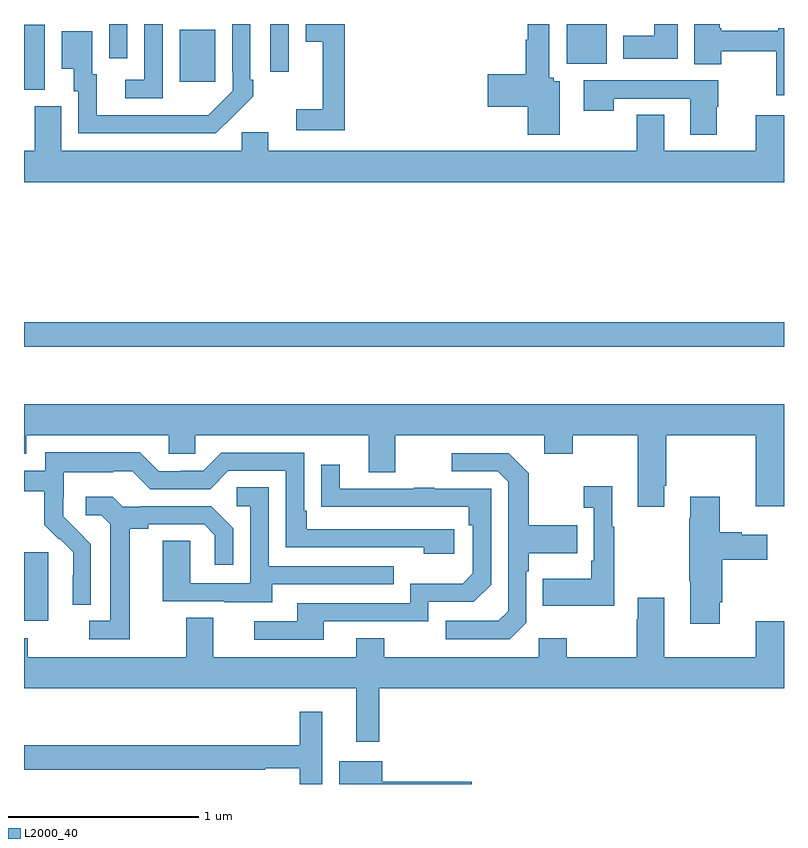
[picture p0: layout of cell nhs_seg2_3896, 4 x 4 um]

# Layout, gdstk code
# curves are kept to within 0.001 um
import gdstk
lib = gdstk.Library(unit=1e-6, precision=1e-09)
def R(c, l, rs):  # rectangles x0, y0, x1, y1
    for r in rs: c.add(gdstk.rectangle(r[:2], r[2:], *l))
def P(c, l, *ps):  # polygons
    for p in ps: c.add(gdstk.Polygon(p, *l))
L2000_40 = (2000, 40)

nhs_seg2_3896 = lib.new_cell('nhs_seg2_3896')
R(nhs_seg2_3896, L2000_40, [(317,646.658,317.128,647.019), (317,648.102,321,648.23), (317,649.453,317.11,649.796), (317.819,649.497,318.007,649.771), (318.297,649.548,318.393,649.8), (319.856,649.592,320.068,649.8), (317.448,649.62,317.544,649.8)])
P(nhs_seg2_3896, L2000_40, [(318.689,649.8),(318.482,649.8),(318.482,649.706),(318.572,649.706),(318.572,649.351),(318.432,649.351),(318.432,649.242),(318.689,649.242)],
  [(317.73,649.8),(317.634,649.8),(317.634,649.506),(317.532,649.506),(317.532,649.41),(317.73,649.41)],
  [(319.819,649.5),(319.788,649.5),(319.788,649.518),(319.765,649.518),(319.765,649.8),(319.652,649.8),(319.652,649.718),(319.64,649.718),(319.64,649.535),(319.44,649.535),(319.44,649.364),(319.652,649.364),(319.652,649.218),(319.819,649.218)],
  [(318.101,649.315),(318.102,649.314),(318.207,649.419),(318.207,649.507),(318.192,649.507),(318.192,649.8),(318.096,649.8),(318.096,649.549),(318.099,649.549),(318.099,649.449),(317.971,649.321),(317.383,649.32),(317.383,649.536),(317.359,649.536),(317.359,649.762),(317.198,649.762),(317.198,649.565),(317.261,649.565),(317.261,649.446),(317.286,649.446),(317.286,649.224),(318.01,649.224)],
  [(321,649.777),(320.97,649.777),(320.97,649.765),(320.67,649.765),(320.67,649.777),(320.662,649.777),(320.662,649.8),(320.528,649.8),(320.528,649.588),(320.67,649.588),(320.67,649.656),(320.959,649.656),(320.959,649.425),(321,649.425)],
  [(320.44,649.8),(320.318,649.8),(320.318,649.738),(320.153,649.738),(320.153,649.616),(320.44,649.616)],
  [(320.647,649.365),(320.655,649.365),(320.655,649.503),(319.947,649.503),(319.947,649.344),(320.103,649.344),(320.103,649.407),(320.507,649.407),(320.507,649.218),(320.647,649.218)],
  [(321,649.321),(320.852,649.321),(320.852,649.132),(320.371,649.132),(320.371,649.322),(320.224,649.322),(320.224,649.132),(318.286,649.132),(318.286,649.23),(318.147,649.23),(318.147,649.132),(317.197,649.132),(317.197,649.368),(317.057,649.368),(317.057,649.132),(317,649.132),(317,648.968),(321,648.968)],
  [(317,647.537),(317.011,647.537),(317.011,647.636),(317.763,647.636),(317.763,647.538),(317.901,647.538),(317.901,647.636),(318.815,647.636),(318.815,647.442),(318.955,647.442),(318.955,647.636),(319.739,647.636),(319.739,647.537),(319.887,647.537),(319.887,647.636),(320.231,647.636),(320.231,647.259),(320.371,647.259),(320.371,647.371),(320.379,647.371),(320.379,647.636),(320.852,647.636),(320.852,647.262),(321,647.262),(321,647.8),(317,647.8)],
  [(317.352,647.062),(317.206,647.21),(317.206,647.307),(317.208,647.307),(317.208,647.441),(317.471,647.441),(317.471,647.445),(317.571,647.445),(317.664,647.352),(317.979,647.352),(318.075,647.448),(318.378,647.448),(318.378,647.046),(319.103,647.046),(319.103,647.012),(319.264,647.012),(319.264,647.142),(318.487,647.142),(318.487,647.239),(318.474,647.239),(318.474,647.544),(318.039,647.544),(317.943,647.448),(317.825,647.448),(317.825,647.445),(317.709,647.445),(317.609,647.545),(317.112,647.545),(317.112,647.448),(317,647.448),(317,647.34),(317.107,647.34),(317.107,647.165),(317.184,647.088),(317.187,647.091),(317.258,647.021),(317.258,646.898),(317.256,646.898),(317.256,646.744),(317.352,646.744)],
  [(319.644,646.65),(319.644,646.919),(319.657,646.919),(319.657,647.015),(319.913,647.015),(319.913,647.163),(319.657,647.163),(319.657,647.435),(319.551,647.541),(319.251,647.541),(319.251,647.445),(319.494,647.445),(319.548,647.391),(319.548,646.71),(319.497,646.659),(319.221,646.659),(319.221,646.563),(319.557,646.563)],
  [(318.577,646.656),(319.128,646.656),(319.128,646.758),(319.368,646.758),(319.458,646.848),(319.458,647.355),(319.163,647.355),(319.163,647.36),(319.051,647.36),(319.051,647.355),(318.661,647.355),(318.661,647.479),(318.565,647.479),(318.565,647.26),(319.342,647.259),(319.342,647.162),(319.362,647.162),(319.362,646.908),(319.309,646.855),(319.032,646.855),(319.032,646.752),(318.437,646.752),(318.437,646.656),(318.213,646.656),(318.213,646.56),(318.577,646.56)],
  [(320.107,647.155),(320.095,647.155),(320.095,647.368),(319.947,647.368),(319.947,647.255),(319.998,647.255),(319.998,646.975),(319.986,646.975),(319.986,646.879),(319.729,646.879),(319.729,646.739),(320.107,646.739)],
  [(318.307,646.851),(318.947,646.851),(318.947,646.947),(318.288,646.947),(318.288,647.363),(318.12,647.363),(318.12,647.262),(318.192,647.262),(318.192,646.857),(317.874,646.857),(317.874,647.081),(317.729,647.081),(317.729,646.761),(318.053,646.761),(318.053,646.757),(318.307,646.757)],
  [(317.557,647.144),(317.653,647.144),(317.653,647.166),(317.948,647.166),(318.005,647.109),(318.005,646.953),(318.102,646.953),(318.102,647.146),(317.986,647.262),(317.614,647.262),(317.614,647.259),(317.52,647.259),(317.468,647.311),(317.325,647.311),(317.325,647.214),(317.406,647.214),(317.453,647.167),(317.453,646.659),(317.343,646.659),(317.343,646.563),(317.557,646.563)],
  [(320.662,646.756),(320.675,646.756),(320.675,646.979),(320.911,646.979),(320.911,647.113),(320.778,647.113),(320.778,647.126),(320.662,647.126),(320.662,647.311),(320.507,647.311),(320.507,647.198),(320.5,647.198),(320.5,646.867),(320.507,646.867),(320.507,646.644),(320.662,646.644)],
  [(318.871,646.304),(321,646.304),(321,646.657),(320.852,646.657),(320.852,646.468),(320.371,646.468),(320.371,646.78),(320.231,646.78),(320.231,646.667),(320.224,646.667),(320.224,646.468),(319.857,646.468),(319.857,646.567),(319.71,646.567),(319.71,646.468),(318.897,646.468),(318.897,646.567),(318.749,646.567),(318.749,646.468),(317.995,646.468),(317.995,646.676),(317.855,646.676),(317.855,646.468),(317.019,646.468),(317.019,646.567),(317,646.567),(317,646.304),(318.749,646.304),(318.749,646.023),(318.871,646.023)],
  [(318.571,646.18),(318.45,646.18),(318.45,646.003),(317,646.003),(317,645.874),(318.271,645.874),(318.271,645.882),(318.45,645.882),(318.45,645.8),(318.571,645.8)],
  [(319.357,645.813),(318.886,645.813),(318.886,645.919),(318.659,645.919),(318.659,645.8),(319.357,645.8)])

lib.write_gds('nhs_seg2_3896.gds')
